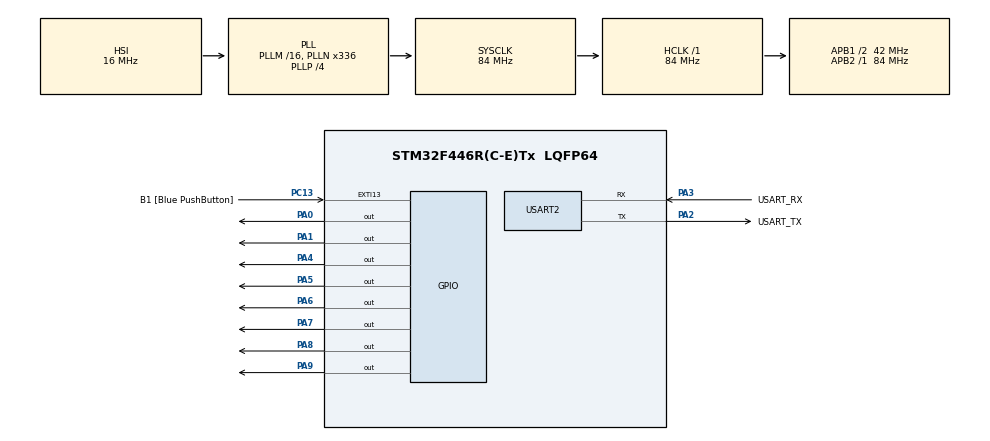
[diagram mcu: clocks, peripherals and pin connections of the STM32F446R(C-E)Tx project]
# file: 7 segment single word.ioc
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Mcu.Family=STM32F4
Mcu.Name=STM32F446R(C-E)Tx
Mcu.Package=LQFP64
NVIC.PriorityGroup=NVIC_PRIORITYGROUP_0
PA0-WKUP.Signal=GPIO_Output
PA1.Signal=GPIO_Output
PA13.GPIO_Label=TMS
PA13.Mode=Serial_Wire
PA13.Signal=SYS_JTMS-SWDIO
PA14.GPIO_Label=TCK
PA14.Mode=Serial_Wire
PA14.Signal=SYS_JTCK-SWCLK
PA2.GPIO_Label=USART_TX
PA2.Mode=Asynchronous
PA2.Signal=USART2_TX
PA3.GPIO_Label=USART_RX
PA3.Mode=Asynchronous
PA3.Signal=USART2_RX
PA4.Signal=GPIO_Output
PA5.Signal=GPIO_Output
PA6.Signal=GPIO_Output
PA7.Signal=GPIO_Output
PA8.Signal=GPIO_Output
PA9.Signal=GPIO_Output
PB3.GPIO_Label=SWO
PB3.Signal=SYS_JTDO-SWO
PC13.GPIO_Label=B1 [Blue PushButton]
PC13.GPIO_ModeDefaultEXTI=GPIO_MODE_IT_FALLING
PC13.Signal=GPXTI13
PC14-OSC32_IN.Mode=LSE-External-Oscillator
PC14-OSC32_IN.Signal=RCC_OSC32_IN
PC15-OSC32_OUT.Mode=LSE-External-Oscillator
PC15-OSC32_OUT.Signal=RCC_OSC32_OUT
PH0-OSC_IN.Mode=HSE-External-Oscillator
PH0-OSC_IN.Signal=RCC_OSC_IN
PH1-OSC_OUT.Mode=HSE-External-Oscillator
PH1-OSC_OUT.Signal=RCC_OSC_OUT
ProjectManager.HeapSize=0x200
ProjectManager.StackSize=0x400
ProjectManager.TargetToolchain=STM32CubeIDE
RCC.48MHZClocksFreq_Value=84000000
RCC.AHBFreq_Value=84000000
RCC.APB1CLKDivider=RCC_HCLK_DIV2
RCC.APB1Freq_Value=42000000
RCC.APB1TimFreq_Value=84000000
RCC.APB2Freq_Value=84000000
RCC.APB2TimFreq_Value=84000000
RCC.CortexFreq_Value=84000000
RCC.FLatency-AdvancedSettings=FLASH_LATENCY_2
RCC.HCLKFreq_Value=84000000
RCC.HSE_VALUE=8000000
RCC.HSI_VALUE=16000000
RCC.PLLN=336
RCC.PLLP=RCC_PLLP_DIV4
RCC.SYSCLKFreq_VALUE=84000000
RCC.SYSCLKSource=RCC_SYSCLKSOURCE_PLLCLK
RCC.USBFreq_Value=168000000
RCC.VCOOutputFreq_Value=336000000
USART2.VirtualMode=VM_ASYNC
board=NUCLEO-F446RE

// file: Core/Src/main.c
/* USER CODE BEGIN Header */
/**
  ******************************************************************************
  * @file           : main.c
  * @brief          : Main program body
  ******************************************************************************
  * @attention
  *
  * Copyright (c) 2024 STMicroelectronics.
  * All rights reserved.
  *
  * This software is licensed under terms that can be found in the LICENSE file
  * in the root directory of this software component.
  * If no LICENSE file comes with this software, it is provided AS-IS.
  *
  ******************************************************************************
  */
/* USER CODE END Header */
#include "main.h"

UART_HandleTypeDef huart2;

void SystemClock_Config(void);
static void MX_GPIO_Init(void);
static void MX_USART2_UART_Init(void);
/* USER CODE BEGIN PFP */
void Byte_Write(uint16_t arr);
/* USER CODE END PFP */

int main(void)
{

  /* MCU Configuration--------------------------------------------------------*/

  /* Reset of all peripherals, Initializes the Flash interface and the Systick. */
  HAL_Init();

  /* Configure the system clock */
  SystemClock_Config();

  /* Initialize all configured peripherals */
  MX_GPIO_Init();
  MX_USART2_UART_Init();

  /* Infinite loop */
  /* USER CODE BEGIN WHILE */
  uint16_t i=0;
  uint16_t arr[]={0xc0,0xf9,oxa4,oxbo,ox99,0x92,0x82,0xb8,0x80,0x98};
  while (1)
  {
	  if(i<=9)
	  {
	    Byte_Write(arr[i]);
	    HAL_Delay(500);
	    i++;
	  }
	  if(i>9)
	  {
		  i=0;
	  }
    /* USER CODE END WHILE */

  }
}

void SystemClock_Config(void)
{
  RCC_OscInitTypeDef RCC_OscInitStruct = {0};
  RCC_ClkInitTypeDef RCC_ClkInitStruct = {0};

  /** Configure the main internal regulator output voltage
  */
  __HAL_RCC_PWR_CLK_ENABLE();
  __HAL_PWR_VOLTAGESCALING_CONFIG(PWR_REGULATOR_VOLTAGE_SCALE3);

  /** Initializes the RCC Oscillators according to the specified parameters
  * in the RCC_OscInitTypeDef structure.
  */
  RCC_OscInitStruct.OscillatorType = RCC_OSCILLATORTYPE_HSI;
  RCC_OscInitStruct.HSIState = RCC_HSI_ON;
  RCC_OscInitStruct.HSICalibrationValue = RCC_HSICALIBRATION_DEFAULT;
  RCC_OscInitStruct.PLL.PLLState = RCC_PLL_ON;
  RCC_OscInitStruct.PLL.PLLSource = RCC_PLLSOURCE_HSI;
  RCC_OscInitStruct.PLL.PLLM = 16;
  RCC_OscInitStruct.PLL.PLLN = 336;
  RCC_OscInitStruct.PLL.PLLP = RCC_PLLP_DIV4;
  RCC_OscInitStruct.PLL.PLLQ = 2;
  RCC_OscInitStruct.PLL.PLLR = 2;
  if (HAL_RCC_OscConfig(&RCC_OscInitStruct) != HAL_OK)
  {
    Error_Handler();
  }

  /** Initializes the CPU, AHB and APB buses clocks
  */
  RCC_ClkInitStruct.ClockType = RCC_CLOCKTYPE_HCLK|RCC_CLOCKTYPE_SYSCLK
                              |RCC_CLOCKTYPE_PCLK1|RCC_CLOCKTYPE_PCLK2;
  RCC_ClkInitStruct.SYSCLKSource = RCC_SYSCLKSOURCE_PLLCLK;
  RCC_ClkInitStruct.AHBCLKDivider = RCC_SYSCLK_DIV1;
  RCC_ClkInitStruct.APB1CLKDivider = RCC_HCLK_DIV2;
  RCC_ClkInitStruct.APB2CLKDivider = RCC_HCLK_DIV1;

  if (HAL_RCC_ClockConfig(&RCC_ClkInitStruct, FLASH_LATENCY_2) != HAL_OK)
  {
    Error_Handler();
  }
}

static void MX_USART2_UART_Init(void)
{

  huart2.Instance = USART2;
  huart2.Init.BaudRate = 115200;
  huart2.Init.WordLength = UART_WORDLENGTH_8B;
  huart2.Init.StopBits = UART_STOPBITS_1;
  huart2.Init.Parity = UART_PARITY_NONE;
  huart2.Init.Mode = UART_MODE_TX_RX;
  huart2.Init.HwFlowCtl = UART_HWCONTROL_NONE;
  huart2.Init.OverSampling = UART_OVERSAMPLING_16;
  if (HAL_UART_Init(&huart2) != HAL_OK)
  {
    Error_Handler();
  }

}

static void MX_GPIO_Init(void)
{
  GPIO_InitTypeDef GPIO_InitStruct = {0};

  /* GPIO Ports Clock Enable */
  __HAL_RCC_GPIOC_CLK_ENABLE();
  __HAL_RCC_GPIOH_CLK_ENABLE();
  __HAL_RCC_GPIOA_CLK_ENABLE();
  __HAL_RCC_GPIOB_CLK_ENABLE();

  /*Configure GPIO pin Output Level */
  HAL_GPIO_WritePin(GPIOA, GPIO_PIN_0|GPIO_PIN_1|GPIO_PIN_4|GPIO_PIN_5
                          |GPIO_PIN_6|GPIO_PIN_7|GPIO_PIN_8|GPIO_PIN_9, GPIO_PIN_RESET);

  /*Configure GPIO pin : B1_Pin */
  GPIO_InitStruct.Pin = B1_Pin;
  GPIO_InitStruct.Mode = GPIO_MODE_IT_FALLING;
  GPIO_InitStruct.Pull = GPIO_NOPULL;
  HAL_GPIO_Init(B1_GPIO_Port, &GPIO_InitStruct);

  /*Configure GPIO pins : PA0 PA1 PA4 PA5
                           PA6 PA7 PA8 PA9 */
  GPIO_InitStruct.Pin = GPIO_PIN_0|GPIO_PIN_1|GPIO_PIN_4|GPIO_PIN_5
                          |GPIO_PIN_6|GPIO_PIN_7|GPIO_PIN_8|GPIO_PIN_9;
  GPIO_InitStruct.Mode = GPIO_MODE_OUTPUT_PP;
  GPIO_InitStruct.Pull = GPIO_NOPULL;
  GPIO_InitStruct.Speed = GPIO_SPEED_FREQ_LOW;
  HAL_GPIO_Init(GPIOA, &GPIO_InitStruct);

}

/* USER CODE BEGIN 4 */
 void Byte_Write(uint16_t data)
 {
    if((data&0x01)==0x01)
	{
		HAL_GPIO_WritePin(GPIOA,GPIO_PIN_1,1);
	}
	else
	{
		HAL_GPIO_WritePin(GPIOA, GPIO_PIN_1,0);
	}
 	if((data&0x02)==0x02)
	{
		HAL_GPIO_WritePin(GPIOA,GPIO_PIN_8,1);
	}
	else
	{
		HAL_GPIO_WritePin(GPIOA, GPIO_PIN_8,0);
	}
	if((data&0x04)==0x04)
	{
		HAL_GPIO_WritePin(GPIOA,GPIO_PIN_6,1);
	}
	else
	{
		HAL_GPIO_WritePin(GPIOA, GPIO_PIN_6,0);
	}
	if((data&0x08)==0x08)
	{
		HAL_GPIO_WritePin(GPIOA,GPIO_PIN_7,1);
	}
	else
	{
		HAL_GPIO_WritePin(GPIOA, GPIO_PIN_7,0);
	}
	if((data&0x10)==0x10)
	{
		HAL_GPIO_WritePin(GPIOA,GPIO_PIN_9,1);
	}
	else
	{
		HAL_GPIO_WritePin(GPIOA, GPIO_PIN_9,0);
	}
	if((data&0x20)==0x20)
	{
		HAL_GPIO_WritePin(GPIOA,GPIO_PIN_4,1);
	}
	else
	{
		HAL_GPIO_WritePin(GPIOA, GPIO_PIN_4,0);
	}
	if((data&0x40)==0X40)
	{
		HAL_GPIO_WritePin(GPIOA,GPIO_PIN_0,1);
	}
	else
	{
		HAL_GPIO_WritePin(GPIOA, GPIO_PIN_0,0);
	}
	if((data&0x80)==0x80)
	{
		HAL_GPIO_WritePin(GPIOA,GPIO_PIN_5,1);
	}
	else
	{
		HAL_GPIO_WritePin(GPIOA, GPIO_PIN_5,0);
	}
}

/* USER CODE END 4 */

void Error_Handler(void)
{
  __disable_irq();
  while (1)
  {
  }
}
